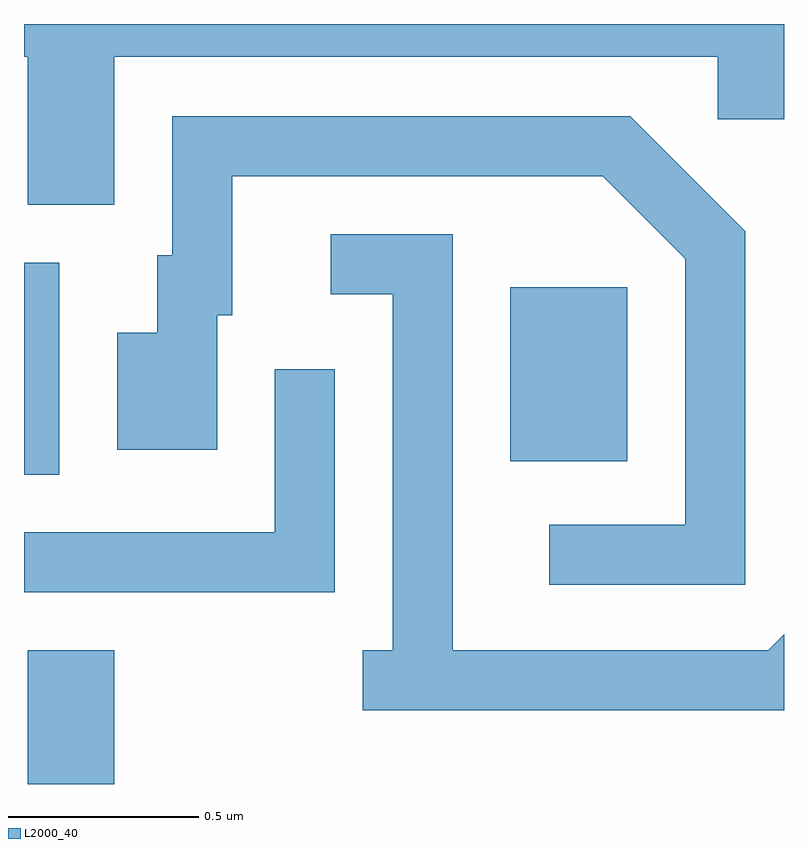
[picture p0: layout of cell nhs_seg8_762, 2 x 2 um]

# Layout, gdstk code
import gdstk
lib = gdstk.Library(unit=1e-6, precision=1e-09)
def R(c, l, rs):  # rectangles x0, y0, x1, y1
    for r in rs: c.add(gdstk.rectangle(r[:2], r[2:], *l))
def P(c, l, *ps):  # polygons
    for p in ps: c.add(gdstk.Polygon(p, *l))
L2000_40 = (2000, 40)

nhs_seg8_762 = lib.new_cell('nhs_seg8_762')
R(nhs_seg8_762, L2000_40, [(190.621,1883.342,190.849,1883.694), (190.611,1884.156,190.704,1884.714), (191.891,1884.191,192.199,1884.649)])
P(nhs_seg8_762, L2000_40, [(190.849,1885.256),(192.436,1885.256),(192.436,1885.091),(192.611,1885.091),(192.611,1885.342),(190.611,1885.342),(190.611,1885.256),(190.621,1885.256),(190.621,1884.866),(190.849,1884.866)],
  [(192.509,1884.797),(192.207,1885.099),(191.001,1885.099),(191.001,1884.734),(190.961,1884.734),(190.961,1884.529),(190.856,1884.529),(190.856,1884.221),(191.119,1884.221),(191.119,1884.576),(191.159,1884.576),(191.159,1884.941),(192.134,1884.941),(192.351,1884.724),(192.351,1884.024),(191.993,1884.024),(191.993,1883.866),(192.509,1883.866)],
  [(192.611,1883.736),(192.569,1883.694),(191.739,1883.694),(191.739,1884.789),(191.418,1884.789),(191.418,1884.631),(191.581,1884.631),(191.581,1883.694),(191.503,1883.694),(191.503,1883.536),(192.611,1883.536)],
  [(191.429,1884.433),(191.271,1884.433),(191.271,1884.004),(190.611,1884.004),(190.611,1883.846),(191.429,1883.846)])

lib.write_gds('nhs_seg8_762.gds')
